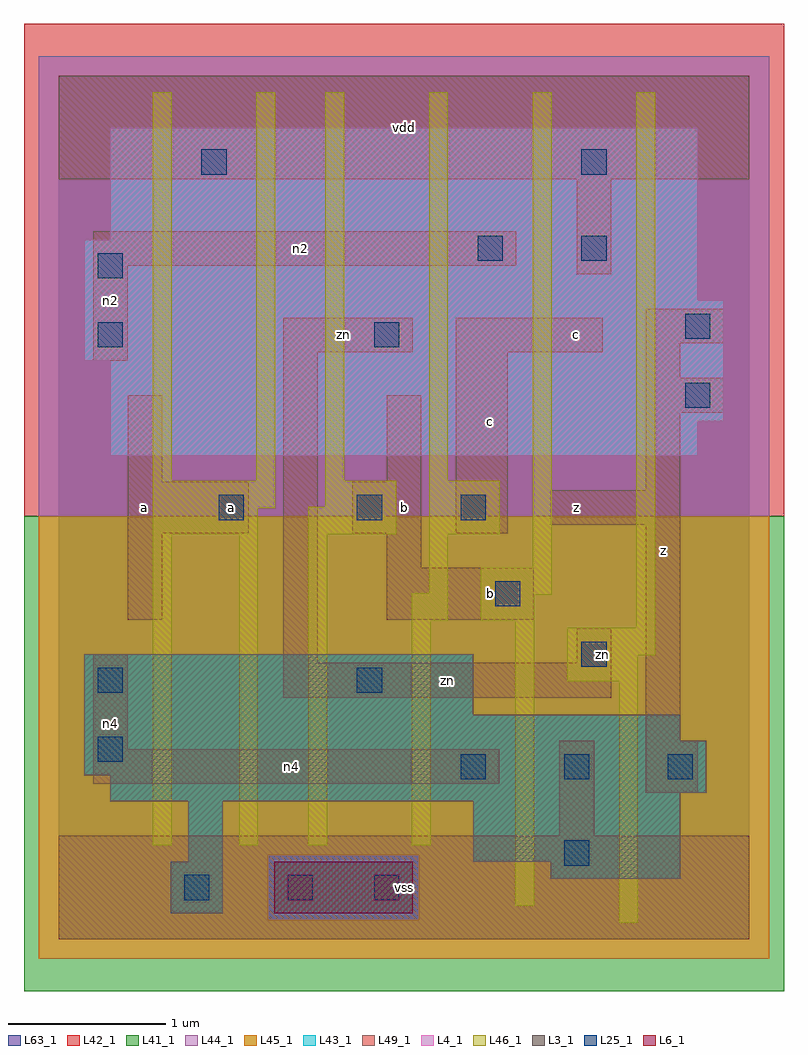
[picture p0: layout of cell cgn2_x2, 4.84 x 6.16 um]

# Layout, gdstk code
import gdstk
lib = gdstk.Library(unit=1e-6, precision=1e-09)
def R(c, l, rs):  # rectangles x0, y0, x1, y1
    for r in rs: c.add(gdstk.rectangle(r[:2], r[2:], *l))
def A(c, l, x, y, w, h, nx, ny, dx, dy):  # array of equal rectangles
    R(c, l, [(x+i*dx, y+j*dy, x+i*dx+w, y+j*dy+h) for i in range(nx) for j in range(ny)])
L3_1 = (3, 1)
L4_1 = (4, 1)
L6_1 = (6, 1)
L25_1 = (25, 1)
L41_1 = (41, 1)
L42_1 = (42, 1)
L43_1 = (43, 1)
L44_1 = (44, 1)
L45_1 = (45, 1)
L46_1 = (46, 1)
L49_1 = (49, 1)
L63_1 = (63, 1)

cgn2_x2 = lib.new_cell('cgn2_x2')
R(cgn2_x2, L3_1, [(0.715,0.165,1.045,0.495), (3.135,0.385,3.96,0.495), (0.825,0.495,1.045,0.88), (2.64,0.495,3.96,0.88), (0.33,0.88,3.96,0.935), (0.33,0.935,4.125,1.045), (0.165,1.045,4.125,1.265), (0.165,1.265,3.96,1.43), (0.165,1.43,2.64,1.815)])
R(cgn2_x2, L4_1, [(0.33,3.08,4.07,3.3), (0.33,3.3,4.235,3.685), (0.165,3.685,4.235,4.07), (0.165,4.07,4.07,4.455), (0.33,4.455,4.07,5.17)])
R(cgn2_x2, L6_1, [(1.375,0.165,2.255,0.495)])
A(cgn2_x2, L25_1, 2.56, 1.02, 0.16, 0.16, 3, 1, 0.66, 0)
R(cgn2_x2, L25_1, [(0.8,0.25,0.96,0.41), (1.46,0.25,1.62,0.41), (2.01,0.25,2.17,0.41), (3.22,0.47,3.38,0.63), (0.25,1.13,0.41,1.29), (0.25,1.57,0.41,1.73), (1.9,1.57,2.06,1.73), (3.33,1.735,3.49,1.895), (2.78,2.12,2.94,2.28), (1.02,2.67,1.18,2.83), (1.9,2.67,2.06,2.83), (2.56,2.67,2.72,2.83), (3.99,3.385,4.15,3.545), (0.25,3.77,0.41,3.93), (2.01,3.77,2.17,3.93), (3.99,3.825,4.15,3.985), (0.25,4.21,0.41,4.37), (2.67,4.32,2.83,4.48), (3.33,4.32,3.49,4.48), (0.91,4.87,1.07,5.03), (3.33,4.87,3.49,5.03)])
R(cgn2_x2, L41_1, [(-0.22,-0.33,4.62,2.695)])
R(cgn2_x2, L42_1, [(-0.22,2.695,4.62,5.83)])
R(cgn2_x2, L43_1, [(0.715,0.165,1.045,0.495), (1.375,0.165,2.255,0.495), (3.135,0.385,3.96,0.495), (0.825,0.495,1.045,0.88), (2.64,0.495,3.96,0.88), (0.33,0.88,3.96,0.935), (0.33,0.935,4.125,1.045), (0.165,1.045,4.125,1.265), (0.165,1.265,3.96,1.43), (0.165,1.43,2.64,1.815), (0.33,3.08,4.07,3.3), (0.33,3.3,4.235,3.685), (0.165,3.685,4.235,4.07), (0.165,4.07,4.07,4.455), (0.33,4.455,4.07,5.17)])
R(cgn2_x2, L44_1, [(1.335,0.125,2.295,0.535), (-0.125,2.695,4.525,5.625)])
R(cgn2_x2, L45_1, [(-0.125,-0.125,4.525,0.125), (-0.125,0.125,1.335,0.535), (2.295,0.125,4.525,0.535), (-0.125,0.535,4.525,2.695)])
R(cgn2_x2, L46_1, [(3.57,0.105,3.69,1.645), (2.91,0.215,3.03,2.03), (0.6,0.6,0.72,2.58), (1.15,0.6,1.27,2.58), (1.59,0.6,1.71,2.58), (2.25,0.6,2.37,2.03), (3.24,1.645,3.69,1.81), (3.24,1.81,3.8,1.985), (3.68,1.985,3.8,5.395), (2.25,2.03,2.48,2.205), (2.69,2.03,3.03,2.195), (2.69,2.195,3.14,2.37), (2.36,2.205,2.48,2.58), (3.02,2.37,3.14,5.395), (0.6,2.58,1.27,2.745), (1.59,2.58,2.15,2.755), (2.36,2.58,2.81,2.92), (0.6,2.745,1.38,2.92), (1.7,2.755,2.15,2.92), (0.6,2.92,0.72,5.395), (1.26,2.92,1.38,5.395), (1.7,2.92,1.82,5.395), (2.36,2.92,2.48,5.395)])
R(cgn2_x2, L49_1, [(0,0,4.4,0.66), (3.19,0.66,3.41,1.265), (3.74,0.935,4.07,1.265), (0.22,0.99,2.805,1.21), (0.22,1.21,0.44,1.815), (3.74,1.265,3.96,2.64), (1.43,1.54,3.52,1.76), (1.43,1.76,1.65,3.74), (3.3,1.76,3.52,1.98), (0.44,2.035,0.66,2.585), (2.09,2.035,3.025,2.365), (2.09,2.365,2.31,2.585), (0.44,2.585,1.21,2.915), (1.87,2.585,2.31,2.915), (2.53,2.585,2.86,3.74), (3.135,2.64,3.96,2.86), (3.74,2.86,3.96,3.355), (0.44,2.915,0.66,3.465), (2.09,2.915,2.31,3.465), (3.74,3.355,4.235,3.575), (3.74,3.575,3.96,3.795), (0.22,3.685,0.44,4.29), (1.43,3.74,2.255,3.96), (2.53,3.74,3.465,3.96), (3.74,3.795,4.235,4.015), (3.3,4.235,3.52,4.84), (0.22,4.29,2.915,4.51), (0,4.84,4.4,5.5)])
R(cgn2_x2, L63_1, [(0,0,4.4,5.5)])
cgn2_x2.add(gdstk.Label('zn', (3.465,1.815), layer=49, texttype=1))
cgn2_x2.add(gdstk.Label('n4', (0.33,1.375), layer=49, texttype=1))
cgn2_x2.add(gdstk.Label('a', (0.55,2.75), layer=49, texttype=1))
cgn2_x2.add(gdstk.Label('a', (0.55,2.75), layer=49, texttype=1))
cgn2_x2.add(gdstk.Label('n2', (0.33,4.07), layer=49, texttype=1))
cgn2_x2.add(gdstk.Label('a', (1.1,2.75), layer=49, texttype=1))
cgn2_x2.add(gdstk.Label('a', (1.1,2.75), layer=49, texttype=1))
cgn2_x2.add(gdstk.Label('vss', (2.2,0.33), layer=49, texttype=1))
cgn2_x2.add(gdstk.Label('vss', (2.2,0.33), layer=49, texttype=1))
cgn2_x2.add(gdstk.Label('b', (2.2,2.75), layer=49, texttype=1))
cgn2_x2.add(gdstk.Label('b', (2.2,2.75), layer=49, texttype=1))
cgn2_x2.add(gdstk.Label('zn', (1.815,3.85), layer=49, texttype=1))
cgn2_x2.add(gdstk.Label('vdd', (2.2,5.17), layer=49, texttype=1))
cgn2_x2.add(gdstk.Label('vdd', (2.2,5.17), layer=49, texttype=1))
cgn2_x2.add(gdstk.Label('n4', (1.485,1.1), layer=49, texttype=1))
cgn2_x2.add(gdstk.Label('zn', (2.475,1.65), layer=49, texttype=1))
cgn2_x2.add(gdstk.Label('zn', (3.41,1.76), layer=49, texttype=1))
cgn2_x2.add(gdstk.Label('b', (2.75,2.2), layer=49, texttype=1))
cgn2_x2.add(gdstk.Label('b', (2.75,2.2), layer=49, texttype=1))
cgn2_x2.add(gdstk.Label('z', (3.3,2.75), layer=49, texttype=1))
cgn2_x2.add(gdstk.Label('z', (3.3,2.75), layer=49, texttype=1))
cgn2_x2.add(gdstk.Label('c', (2.75,3.3), layer=49, texttype=1))
cgn2_x2.add(gdstk.Label('c', (2.75,3.3), layer=49, texttype=1))
cgn2_x2.add(gdstk.Label('c', (3.3,3.85), layer=49, texttype=1))
cgn2_x2.add(gdstk.Label('c', (3.3,3.85), layer=49, texttype=1))
cgn2_x2.add(gdstk.Label('n2', (1.54,4.4), layer=49, texttype=1))
cgn2_x2.add(gdstk.Label('z', (3.85,2.475), layer=49, texttype=1))
cgn2_x2.add(gdstk.Label('z', (3.85,2.475), layer=49, texttype=1))

lib.write_gds('cgn2_x2.gds')
